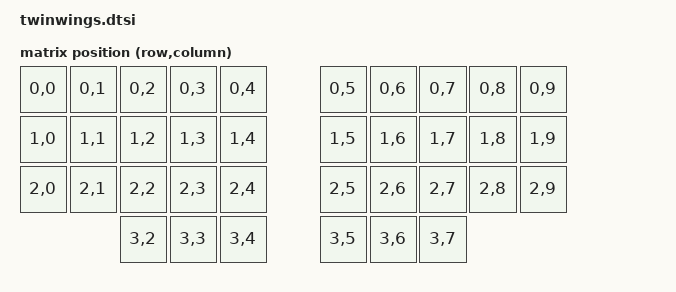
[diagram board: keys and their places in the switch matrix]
/*
 * Copyright (c) 2026 Nicolas Munnich
 * SPDX-License-Identifier: MIT
 */

/dts-v1/;
#include <nordic/nrf52840_qiaa.dtsi>
#include <common/nordic/nrf52840_uf2_boot_mode.dtsi>

#include <dt-bindings/zmk/matrix_transform.h>
#include "twinwings-layouts.dtsi"

&physical_layout0 {
    transform = <&default_transform>;
    kscan = <&kscan0>;
};


/ {
    chosen {
        zmk,physical-layout = &physical_layout0;
        zmk,battery   = &vbatt;
        zephyr,code-partition = &code_partition;
        zephyr,sram = &sram0;
        zephyr,flash = &flash0;
    };

    default_transform: keymap_transform_0 {
        compatible = "zmk,matrix-transform";
        columns = <10>;
        rows = <4>;
        map = <
            RC(0,0) RC(0,1) RC(0, 2) RC(0, 3) RC(0, 4) RC(0,5) RC(0,6) RC(0,7) RC(0,8) RC(0,9)
            RC(1,0) RC(1,1) RC(1, 2) RC(1, 3) RC(1, 4) RC(1,5) RC(1,6) RC(1,7) RC(1,8) RC(1,9)
            RC(2,0) RC(2,1) RC(2, 2) RC(2, 3) RC(2, 4) RC(2,5) RC(2,6) RC(2,7) RC(2,8) RC(2,9)
                            RC(3,2) RC(3,3) RC(3,4) RC(3, 5) RC(3,6) RC(3,7)
        >;
    };

    kscan0: kscan {
        compatible = "zmk,kscan-gpio-matrix";
        wakeup-source;

        diode-direction = "col2row";
    };

    vbatt: vbatt {
        compatible = "zmk,battery-nrf-vddh";
    };

    twinwings_wired: wired_split {
        compatible = "zmk,wired-split";
        device = <&uart0>;
    };
};

&uart0 {
    pinctrl-0 = <&uart0_default>;
    pinctrl-1 = <&uart0_sleep>;
    pinctrl-names = "default", "sleep";
    status = "okay";
};

&reg1 {
    regulator-initial-mode = <NRF5X_REG_MODE_LDO>;
};

&adc {
    status = "okay";
};

&gpiote {
    status = "okay";
};

&gpio0 {
    status = "okay";
};

&gpio1 {
    status = "okay";
};

zephyr_udc0: &usbd {
    status = "okay";
};

&flash0 {
    /*
     * For more information, see:
     * http://docs.zephyrproject.org/latest/devices/dts/flash_partitions.html
     */
    partitions {
        compatible = "fixed-partitions";
        #address-cells = <1>;
        #size-cells = <1>;

        sd_partition: partition@0 {
            reg = <0x00000000 0x00001000>;
        };

        code_partition: partition@1000 {
            reg = <0x00001000 0x000d3000>;
        };

        /*
         * The flash starting at 0x000d4000 and ending at
         * 0x000f3fff is reserved for use by the application.
         */

        /*
         * Storage partition will be used by FCB/LittleFS/NVS
         * if enabled.
         */
        storage_partition: partition@d4000 {
            reg = <0x000d4000 0x00020000>;
        };

        boot_partition: partition@f4000 {
            reg = <0x000f4000 0x0000c000>;
        };
    };
};
